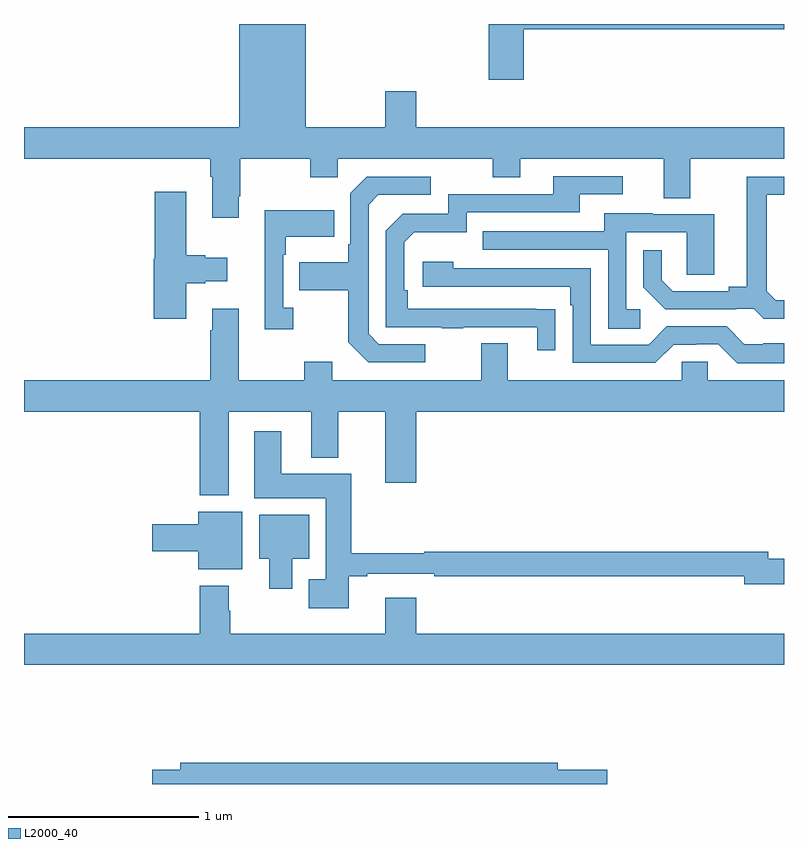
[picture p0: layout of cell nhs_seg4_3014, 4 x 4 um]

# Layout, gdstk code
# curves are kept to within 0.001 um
import gdstk
lib = gdstk.Library(unit=1e-6, precision=1e-09)
def P(c, l, *ps):  # polygons
    for p in ps: c.add(gdstk.Polygon(p, *l))
L2000_40 = (2000, 40)

nhs_seg4_3014 = lib.new_cell('nhs_seg4_3014')
P(nhs_seg4_3014, L2000_40, [(273.629,758.872),(275,758.872),(275,758.9),(273.446,758.9),(273.446,758.607),(273.629,758.607)],
  [(272.131,757.993),(272.139,757.993),(272.139,758.192),(272.506,758.192),(272.506,758.093),(272.652,758.093),(272.652,758.192),(273.466,758.192),(273.466,758.093),(273.613,758.093),(273.613,758.192),(274.367,758.192),(274.367,757.984),(274.507,757.984),(274.507,758.192),(275,758.192),(275,758.356),(273.064,758.356),(273.064,758.545),(272.9,758.545),(272.9,758.356),(272.482,758.356),(272.482,758.9),(272.132,758.9),(272.132,758.356),(271,758.356),(271,758.192),(271.979,758.192),(271.979,758.096),(271.991,758.096),(271.991,757.881),(272.131,757.881)],
  [(273.797,757.4),(273.02,757.401),(273.02,757.498),(273,757.498),(273,757.752),(273.053,757.805),(273.33,757.805),(273.33,757.908),(273.925,757.908),(273.925,758.004),(274.15,758.004),(274.15,758.1),(273.785,758.1),(273.785,758.004),(273.234,758.004),(273.234,757.902),(272.994,757.902),(272.904,757.812),(272.904,757.305),(273.199,757.305),(273.199,757.3),(273.311,757.3),(273.311,757.305),(273.701,757.305),(273.701,757.182),(273.797,757.182)],
  [(275,757.446),(274.956,757.446),(274.909,757.493),(274.909,758.001),(275,758.001),(275,758.097),(274.805,758.097),(274.805,757.517),(274.709,757.517),(274.709,757.494),(274.414,757.494),(274.357,757.551),(274.357,757.708),(274.26,757.708),(274.26,757.514),(274.376,757.398),(274.748,757.398),(274.748,757.401),(274.842,757.401),(274.894,757.349),(275,757.349)],
  [(273.112,757.215),(272.868,757.215),(272.814,757.269),(272.814,757.95),(272.865,758.001),(273.142,758.001),(273.142,758.097),(272.805,758.097),(272.718,758.01),(272.718,757.741),(272.706,757.741),(272.706,757.645),(272.449,757.645),(272.449,757.498),(272.706,757.498),(272.706,757.225),(272.811,757.119),(273.112,757.119)],
  [(271.855,757.535),(271.955,757.535),(271.955,757.547),(272.071,757.547),(272.071,757.669),(271.955,757.669),(271.955,757.682),(271.855,757.682),(271.855,758.017),(271.688,758.017),(271.688,757.665),(271.682,757.665),(271.682,757.35),(271.855,757.35)],
  [(272.416,757.406),(272.364,757.406),(272.364,757.685),(272.377,757.685),(272.377,757.781),(272.633,757.781),(272.633,757.921),(272.267,757.921),(272.267,757.293),(272.416,757.293)],
  [(274.243,757.398),(274.17,757.398),(274.17,757.803),(274.488,757.803),(274.488,757.579),(274.633,757.579),(274.633,757.899),(274.309,757.899),(274.309,757.903),(274.055,757.903),(274.055,757.809),(273.415,757.809),(273.415,757.713),(274.074,757.713),(274.074,757.297),(274.243,757.297)],
  [(275,757.219),(274.891,757.219),(274.891,757.215),(274.791,757.215),(274.698,757.308),(274.383,757.308),(274.287,757.212),(273.984,757.212),(273.984,757.614),(273.26,757.614),(273.26,757.648),(273.099,757.648),(273.099,757.518),(273.875,757.518),(273.875,757.421),(273.888,757.421),(273.888,757.116),(274.323,757.116),(274.419,757.212),(274.538,757.212),(274.538,757.215),(274.653,757.215),(274.753,757.115),(275,757.115)],
  [(272.077,756.86),(272.513,756.86),(272.513,756.617),(272.653,756.617),(272.653,756.86),(272.9,756.86),(272.9,756.486),(273.064,756.486),(273.064,756.86),(275,756.86),(275,757.024),(274.599,757.024),(274.599,757.122),(274.461,757.122),(274.461,757.024),(273.547,757.024),(273.547,757.219),(273.407,757.219),(273.407,757.024),(272.623,757.024),(272.623,757.123),(272.476,757.123),(272.476,757.024),(272.131,757.024),(272.131,757.402),(271.991,757.402),(271.991,757.289),(271.979,757.289),(271.979,757.024),(271,757.024),(271,756.86),(271.925,756.86),(271.925,756.419),(272.077,756.419)],
  [(272.71,755.994),(272.806,755.994),(272.806,756.006),(273.16,756.006),(273.16,755.994),(274.79,755.994),(274.79,755.951),(275,755.951),(275,756.086),(274.918,756.086),(274.918,756.122),(273.106,756.122),(273.106,756.115),(272.723,756.115),(272.723,756.532),(272.353,756.532),(272.353,756.757),(272.213,756.757),(272.213,756.404),(272.588,756.404),(272.588,755.977),(272.498,755.977),(272.498,755.825),(272.71,755.825)],
  [(272.149,756.334),(271.916,756.334),(271.916,756.266),(271.674,756.266),(271.674,756.124),(271.916,756.124),(271.916,756.029),(272.149,756.029)],
  [(272.413,756.086),(272.5,756.086),(272.5,756.316),(272.237,756.316),(272.237,756.086),(272.291,756.086),(272.291,755.928),(272.413,755.928)],
  [(275,755.692),(273.064,755.692),(273.064,755.881),(272.9,755.881),(272.9,755.692),(272.085,755.692),(272.085,755.813),(272.077,755.813),(272.077,755.944),(271.925,755.944),(271.925,755.692),(271,755.692),(271,755.528),(275,755.528)],
  [(274.069,754.976),(273.808,754.976),(273.808,755.012),(271.823,755.012),(271.823,754.976),(271.674,754.976),(271.674,754.9),(274.069,754.9)])

lib.write_gds('nhs_seg4_3014.gds')
